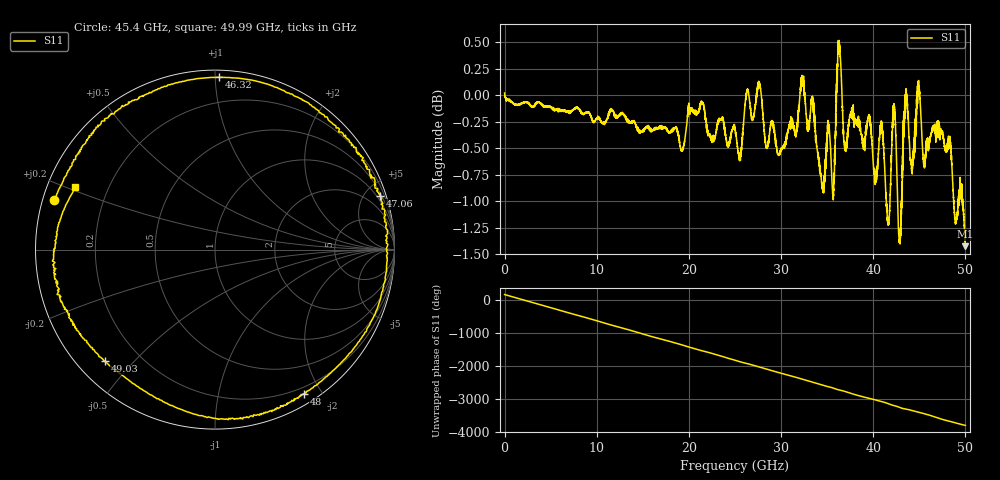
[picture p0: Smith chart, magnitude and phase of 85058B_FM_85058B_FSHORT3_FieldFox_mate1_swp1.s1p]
!Created with skrf (http://scikit-rf.org).
# Hz S RI R 50.0
!freq ReS11 ImS11
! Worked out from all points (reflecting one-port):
!   10000 points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, 5.3 MHz to 50 GHz, reference 50 ohm
!   lowest |S11| = -1.4 dB at 50 GHz (marker M1), VSWR 12.23, Z = 4.29 + j11 ohm
!   phase of S11 starts at 180 deg and turns -3985 deg over the sweep
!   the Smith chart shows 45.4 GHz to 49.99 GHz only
!   S11 on the Smith chart (normalised r, x): 45.4 GHz: 0.03, +0.15; 46.32 GHz: 0.04, +1.02; 47.06 GHz: 0.66, +6.24; 48 GHz: 0.12, -1.78; 49.03 GHz: 0.08, -0.42; 49.99 GHz: 0.08, +0.21
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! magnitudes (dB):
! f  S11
! 5.3 MHz  0.0
! 6.255 GHz  -0.1
! 12.51 GHz  -0.2
! 18.76 GHz  -0.3
! 25.01 GHz  -0.3
! 27.59 GHz  0.1
! 31.26 GHz  -0.3
! 32.33 GHz  0.1
! 35.62 GHz  -1.0
! 36.29 GHz  0.5
! 36.94 GHz  -0.5
! 37.51 GHz  -0.2
! 40.25 GHz  -0.8
! 40.9 GHz  -0.3
! 41.61 GHz  -1.2
! 42.27 GHz  -0.2
! 42.87 GHz  -1.4
! 43.76 GHz  -0.2
! 44.23 GHz  -0.7
! 44.95 GHz  0.1
! 45.4 GHz  -0.6
! 46.32 GHz  -0.4
! 47.06 GHz  -0.3
! 48 GHz  -0.5
! 49.03 GHz  -1.2
! 49.99 GHz  -1.4
! 50 GHz  -1.4
! 50 GHz  -1.4
